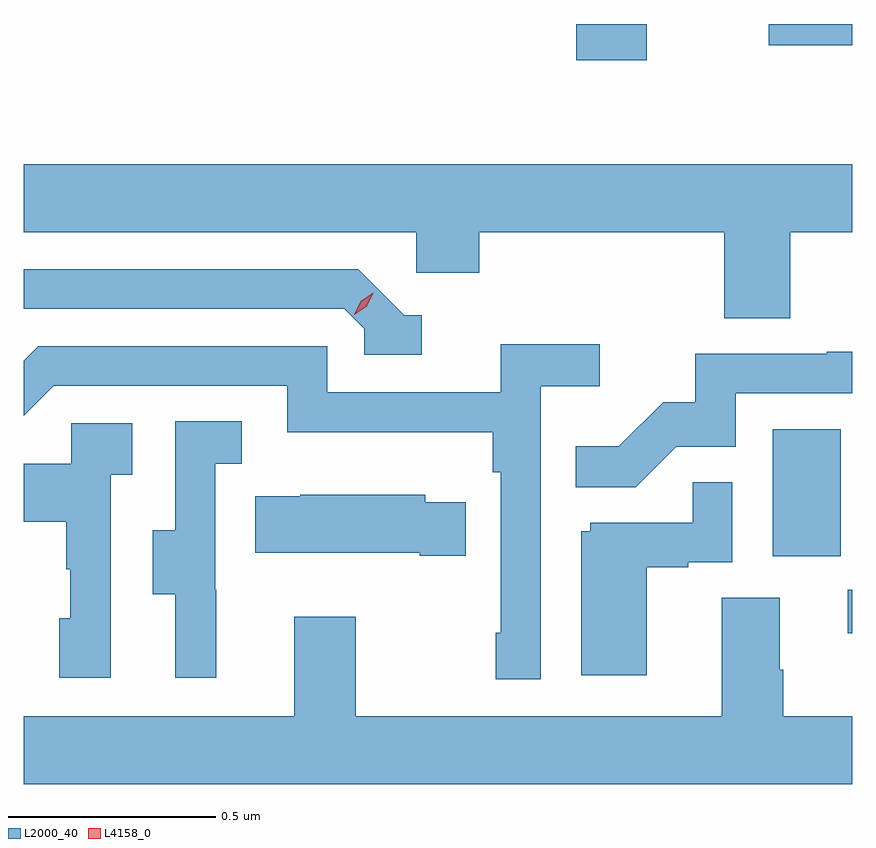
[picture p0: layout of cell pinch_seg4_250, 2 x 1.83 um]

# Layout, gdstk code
import gdstk
lib = gdstk.Library(unit=1e-6, precision=1e-09)
def R(c, l, rs):  # rectangles x0, y0, x1, y1
    for r in rs: c.add(gdstk.rectangle(r[:2], r[2:], *l))
def P(c, l, *ps):  # polygons
    for p in ps: c.add(gdstk.Polygon(p, *l))
L2000_40 = (2000, 40)
L4158_0 = (4158, 0)

pinch_seg4_250 = lib.new_cell('pinch_seg4_250')
R(pinch_seg4_250, L2000_40, [(912.573,817.164,912.584,817.269), (912.392,817.35,912.556,817.657), (911.918,818.547,912.088,818.635), (912.382,818.584,912.584,818.635)])
P(pinch_seg4_250, L2000_40, [(912.435,818.132),(912.584,818.132),(912.584,818.296),(910.584,818.296),(910.584,818.132),(911.532,818.132),(911.532,818.034),(911.684,818.034),(911.684,818.132),(912.275,818.132),(912.275,817.924),(912.435,817.924)],
  [(911.545,817.932),(911.502,817.932),(911.391,818.043),(910.584,818.043),(910.584,817.947),(911.358,817.947),(911.406,817.899),(911.406,817.836),(911.545,817.836)],
  [(911.832,817.76),(911.974,817.76),(911.974,817.862),(911.735,817.862),(911.735,817.746),(911.316,817.746),(911.316,817.857),(910.619,817.857),(910.584,817.822),(910.584,817.689),(910.656,817.761),(911.22,817.761),(911.22,817.649),(911.716,817.649),(911.716,817.553),(911.736,817.553),(911.736,817.165),(911.724,817.165),(911.724,817.053),(911.832,817.053)],
  [(912.159,817.614),(912.303,817.614),(912.303,817.743),(912.584,817.743),(912.584,817.844),(912.523,817.844),(912.523,817.839),(912.205,817.839),(912.205,817.722),(912.128,817.722),(912.021,817.615),(911.917,817.615),(911.917,817.516),(912.061,817.516)],
  [(911.048,817.269),(911.046,817.269),(911.046,817.573),(911.11,817.573),(911.11,817.676),(910.95,817.676),(910.95,817.413),(910.895,817.413),(910.895,817.258),(910.949,817.258),(910.949,817.056),(911.048,817.056)],
  [(910.794,817.547),(910.846,817.547),(910.846,817.671),(910.698,817.671),(910.698,817.573),(910.584,817.573),(910.584,817.433),(910.686,817.433),(910.686,817.319),(910.696,817.319),(910.696,817.2),(910.67,817.2),(910.67,817.056),(910.794,817.056)],
  [(912.088,817.323),(912.188,817.323),(912.188,817.335),(912.294,817.335),(912.294,817.529),(912.199,817.529),(912.199,817.431),(911.952,817.431),(911.952,817.41),(911.93,817.41),(911.93,817.062),(912.088,817.062)],
  [(911.651,817.48),(911.553,817.48),(911.553,817.498),(911.251,817.498),(911.251,817.495),(911.143,817.495),(911.143,817.358),(911.54,817.358),(911.54,817.351),(911.651,817.351)],
  [(911.237,817.204),(911.237,816.964),(910.584,816.964),(910.584,816.8),(912.584,816.8),(912.584,816.964),(912.417,816.964),(912.417,817.076),(912.409,817.076),(912.409,817.25),(912.269,817.25),(912.269,816.964),(911.385,816.964),(911.385,817.204)])
P(pinch_seg4_250, L4158_0, [(911.382,817.933),(911.382,817.933),(911.397,817.966),(911.428,817.986),(911.428,817.986),(911.428,817.986),(911.412,817.953),(911.382,817.933)])

lib.write_gds('pinch_seg4_250.gds')
